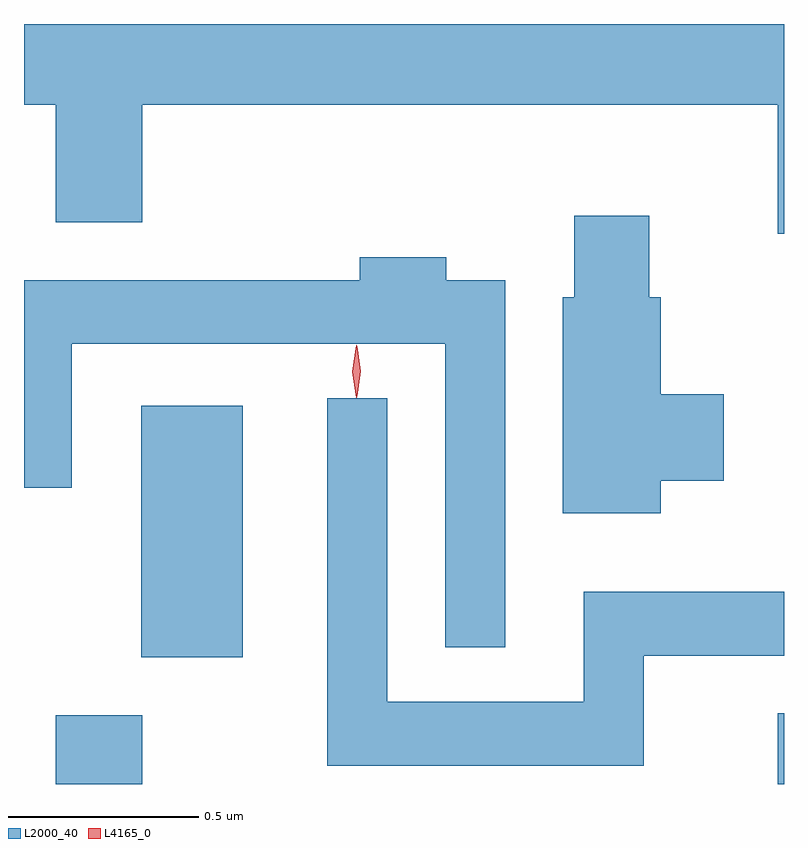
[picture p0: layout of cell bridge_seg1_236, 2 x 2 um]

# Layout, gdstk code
import gdstk
lib = gdstk.Library(unit=1e-6, precision=1e-09)
def R(c, l, rs):  # rectangles x0, y0, x1, y1
    for r in rs: c.add(gdstk.rectangle(r[:2], r[2:], *l))
def P(c, l, *ps):  # polygons
    for p in ps: c.add(gdstk.Polygon(p, *l))
L2000_40 = (2000, 40)
L4165_0 = (4165, 0)

bridge_seg1_236 = lib.new_cell('bridge_seg1_236')
R(bridge_seg1_236, L2000_40, [(831.461,884.468,831.689,884.649), (833.361,884.468,833.378,884.654), (831.686,884.801,831.954,885.464)])
P(bridge_seg1_236, L2000_40, [(833.378,886.468),(831.378,886.468),(831.378,886.256),(831.461,886.256),(831.461,885.946),(831.689,885.946),(831.689,886.256),(833.361,886.256),(833.361,885.916),(833.378,885.916)],
  [(833.054,885.266),(833.219,885.266),(833.219,885.494),(833.054,885.494),(833.054,885.749),(833.024,885.749),(833.024,885.964),(832.826,885.964),(832.826,885.749),(832.796,885.749),(832.796,885.181),(833.054,885.181)],
  [(832.644,885.794),(832.489,885.794),(832.489,885.854),(832.261,885.854),(832.261,885.794),(831.378,885.794),(831.378,885.248),(831.504,885.248),(831.504,885.626),(832.486,885.626),(832.486,884.828),(832.644,884.828)],
  [(833.009,884.806),(833.378,884.806),(833.378,884.974),(832.851,884.974),(832.851,884.684),(832.334,884.684),(832.334,885.483),(832.176,885.483),(832.176,884.516),(833.009,884.516)])
P(bridge_seg1_236, L4165_0, [(832.252,885.484),(832.252,885.484),(832.242,885.553),(832.252,885.622),(832.252,885.623),(832.253,885.622),(832.262,885.553),(832.253,885.484)],
  [(832.254,885.487),(832.254,885.488),(832.244,885.554),(832.254,885.62),(832.254,885.621),(832.255,885.62),(832.264,885.554),(832.255,885.488)])

lib.write_gds('bridge_seg1_236.gds')
